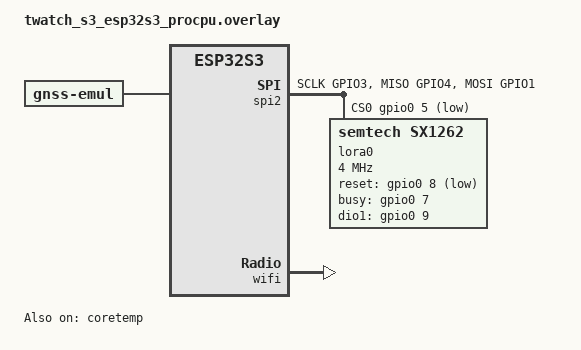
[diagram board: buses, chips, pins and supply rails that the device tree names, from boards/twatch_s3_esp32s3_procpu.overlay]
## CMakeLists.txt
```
# SPDX-License-Identifier: GPL-3.0

cmake_minimum_required(VERSION 3.20.0)

find_package(Zephyr REQUIRED HINTS $ENV{ZEPHYR_BASE})
project(meshtastic_sample)

target_sources(app PRIVATE
  src/main.c
  src/sample_app.c
)

if(CONFIG_MESHTASTIC_SAMPLE_GUI)
  target_sources(app PRIVATE
    src/sample_gui.c
    src/sample_gui_model.c
    src/sample_gui_renderer.c
  )
else()
  target_sources(app PRIVATE src/sample_gui_stub.c)
endif()
```

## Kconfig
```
# Sample-specific configuration options.
#
# Copyright (c) 2026 The Zephyr Project Contributors
# SPDX-License-Identifier: GPL-3.0

config MESHTASTIC_SAMPLE_FREQUENCY
	int "LoRa carrier frequency (Hz)"
	default 0
	help
	  Carrier frequency in Hz, e.g. 906875000 for the default US
	  LongFast slot or 913125000 for US MediumFast slot 45.
	  0 selects the EU LongFast default (869.525 MHz).

config MESHTASTIC_SAMPLE_SPREAD_FACTOR
	int "LoRa spreading factor"
	range 0 12
	default 0
	help
	  Spreading factor 7-12. Together with the fixed BW 250 kHz this
	  selects the Meshtastic modem preset (11 = LongFast,
	  9 = MediumFast). 0 selects the stack default (SF 11).

config MESHTASTIC_SAMPLE_DEMO_BROADCAST
	bool "Periodically broadcast a demo text message"
	default y
	help
	  Broadcast "Hello from <board>!" on the primary channel at the
	  interval below. Handy as a first-contact smoke test; disable it
	  when the sample is used as day-to-day firmware on a real mesh.

config MESHTASTIC_SAMPLE_DEMO_BROADCAST_INTERVAL_SEC
	int "Demo broadcast interval (seconds)"
	depends on MESHTASTIC_SAMPLE_DEMO_BROADCAST
	default 300

source "Kconfig.zephyr"
```

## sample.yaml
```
sample:
  name: Meshtastic
  description: >
    Demonstrates the Meshtastic mesh radio stack: initialises the default
    LongFast channel, prints received text messages, and broadcasts a
    greeting every 30 seconds.
common:
  build_only: true
tests:
  sample.meshtastic:
    tags:
      - lora
      - meshtastic
    platform_allow:
      - twatch_s3/esp32s3/procpu
      - arduino_giga_r1/stm32h747xx/m7
    integration_platforms:
      - twatch_s3/esp32s3/procpu
      - arduino_giga_r1/stm32h747xx/m7
    extra_args:
      - platform:arduino_giga_r1/stm32h747xx/m7:SHIELD=semtech_sx1262mb2das
  sample.meshtastic.settings:
    tags:
      - lora
      - meshtastic
      - settings
    platform_allow:
      - twatch_s3/esp32s3/procpu
      - arduino_giga_r1/stm32h747xx/m7
    integration_platforms:
      - twatch_s3/esp32s3/procpu
      - arduino_giga_r1/stm32h747xx/m7
    extra_args:
      - platform:arduino_giga_r1/stm32h747xx/m7:SHIELD=semtech_sx1262mb2das
      - EXTRA_CONF_FILE=overlay-settings.conf
  # Two fuller configurations, so that CI also compiles the optional
  # subsystems - Bluetooth, the PhoneAPI, the shell, GNSS, environment
  # telemetry and the MQTT gateway - that the default sample configures out.
  # They cannot be merged into one image: Bluetooth and Wi-Fi together
  # overflow the ESP32-S3 DRAM segment.
  sample.meshtastic.full:
    tags:
      - lora
      - meshtastic
      - ble
      - shell
    platform_allow:
      - twatch_s3/esp32s3/procpu
    integration_platforms:
      - twatch_s3/esp32s3/procpu
    extra_args:
      - EXTRA_CONF_FILE="overlay-settings.conf;overlay-ble.conf;overlay-shell.conf;overlay-gnss.conf;overlay-environment.conf"
  sample.meshtastic.mqtt:
    tags:
      - lora
      - meshtastic
      - mqtt
      - wifi
    platform_allow:
      - twatch_s3/esp32s3/procpu
    integration_platforms:
      - twatch_s3/esp32s3/procpu
    extra_args:
      - EXTRA_CONF_FILE="overlay-settings.conf;overlay-shell.conf;overlay-wifi-shell.conf;overlay-mqtt.conf"
```

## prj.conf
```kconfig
CONFIG_HWINFO=y
CONFIG_LORA_MODULE_BACKEND_NATIVE=y
CONFIG_LORA_LOG_LEVEL_DBG=y

CONFIG_LOG=y
CONFIG_LOG_DEFAULT_LEVEL=3
CONFIG_LOG_BUFFER_SIZE=16000

CONFIG_MAIN_STACK_SIZE=8192

CONFIG_MESHTASTIC=y
CONFIG_MESHTASTIC_SETTINGS=y
CONFIG_MESHTASTIC_LOG_LEVEL_DBG=y
CONFIG_MESHTASTIC_PACKET_HEXDUMP=y

# for persistent settings
CONFIG_NVS=y
CONFIG_FLASH=y
CONFIG_FLASH_MAP=y
 # for delayed settings save in system work queue
CONFIG_SYSTEM_WORKQUEUE_STACK_SIZE=2048
```

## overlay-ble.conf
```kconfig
CONFIG_SYSTEM_WORKQUEUE_STACK_SIZE=4096
CONFIG_MESHTASTIC_THREAD_STACK_SIZE=8192

CONFIG_BT=y
CONFIG_BT_PERIPHERAL=y
CONFIG_BT_GATT_CLIENT=y
CONFIG_BT_DEVICE_NAME="Zephyr Meshtastic"
CONFIG_BT_ATT_PREPARE_COUNT=4
CONFIG_BT_L2CAP_TX_MTU=247
CONFIG_BT_BUF_ACL_RX_SIZE=251
CONFIG_BT_BUF_ACL_TX_SIZE=251
CONFIG_BT_GATT_CACHING=n
CONFIG_BT_GATT_SERVICE_CHANGED=n
CONFIG_MESHTASTIC_BLE=y
CONFIG_MESHTASTIC_BLE_PAIRING=y
# # Meshtastic app pairs before reading config; use official default PIN 123456.
# CONFIG_MESHTASTIC_BLE_FIXED_PASSKEY=y
# CONFIG_MESHTASTIC_BLE_PASSKEY=123456

CONFIG_BT_SMP=y
CONFIG_BT_SMP_ENFORCE_MITM=y
# Official Meshtastic zephyr port: allow legacy fallback if SC-only aborts pairing.
CONFIG_BT_SMP_SC_PAIR_ONLY=n
CONFIG_BT_SECURITY_ERR_TO_STR=y

CONFIG_BT_SETTINGS=y
CONFIG_BT_KEYS_OVERWRITE_OLDEST=y
CONFIG_SETTINGS=y
CONFIG_FLASH=y
CONFIG_FLASH_MAP=y
CONFIG_NVS=y
```

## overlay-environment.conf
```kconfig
CONFIG_SENSOR=y
CONFIG_MESHTASTIC_ENVIRONMENT_METRICS=y
```

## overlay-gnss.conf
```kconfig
CONFIG_GNSS=y
CONFIG_MESHTASTIC_GNSS=y
```

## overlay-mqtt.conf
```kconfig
# MQTT gateway overlay for boards with IPv4 networking (Wi-Fi, Ethernet, etc.)
CONFIG_NETWORKING=y
CONFIG_NET_IPV4=y
CONFIG_NET_DHCPV4=y
CONFIG_NET_UDP=y
CONFIG_NET_TCP=y
CONFIG_NET_SOCKETS=y
CONFIG_DNS_RESOLVER=y
CONFIG_DNS_RESOLVER_MAX_SERVERS=2
CONFIG_NET_MGMT_EVENT=y

CONFIG_MQTT_LIB=y
CONFIG_MQTT_LIB_TLS=n

CONFIG_MESHTASTIC_MQTT=y
CONFIG_MESHTASTIC_MQTT_UPLINK_ENABLED=y
CONFIG_MESHTASTIC_MQTT_DOWNLINK_ENABLED=y
CONFIG_MESHTASTIC_MQTT_ENCRYPTION_ENABLED=y
CONFIG_MESHTASTIC_MQTT_ROOT="msh/EU_868"

CONFIG_MESHTASTIC_MQTT_THREAD_STACK_SIZE=6144
CONFIG_MESHTASTIC_MQTT_THREAD_PRIORITY=10

# LoRa async RX/TX completion is handled through the system workqueue. Keep
# enough stack headroom in Wi-Fi/MQTT builds so SX126x DIO1 work can complete
# reliably while the network stack is active.
CONFIG_SYSTEM_WORKQUEUE_STACK_SIZE=4096

# MQTT runs over TCP; each segment can be ~1280 bytes. The Wi-Fi shell overlay
# defaults (10 pkt / 20 buf) are too small and cause TCP retransmit ENOBUFS.
CONFIG_NET_PKT_RX_COUNT=16
CONFIG_NET_PKT_TX_COUNT=24
CONFIG_NET_BUF_RX_COUNT=32
CONFIG_NET_BUF_TX_COUNT=32

# Optional: publish to the public Meshtastic map (requires GNSS fix)
CONFIG_GNSS=y
CONFIG_MESHTASTIC_MQTT_MAP_REPORT=y
CONFIG_MESHTASTIC_GNSS=y
```

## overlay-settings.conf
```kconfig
CONFIG_MESHTASTIC_SETTINGS=y

CONFIG_SETTINGS=y
CONFIG_FLASH=y
CONFIG_FLASH_MAP=y
CONFIG_NVS=y
CONFIG_SETTINGS_NVS=y
```

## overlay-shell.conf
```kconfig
CONFIG_SHELL=y
CONFIG_MESHTASTIC_SHELL=y
# The default 2048-byte shell stack peaks at ~98% on ESP32-S3 once the
# meshtastic commands have run.
CONFIG_SHELL_STACK_SIZE=3072

CONFIG_LOG_CMDS=y
CONFIG_SETTINGS_SHELL=y

# GNSS shell commands require overlay-gnss.conf as well.
```

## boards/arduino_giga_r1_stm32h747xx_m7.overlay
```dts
/ {
	chosen {
		zephyr,meshtastic-uart = &board_cdc_acm_uart;
	};
};
```

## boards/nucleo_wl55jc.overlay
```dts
/ {
	chosen {
		zephyr,meshtastic-uart = &lpuart1;
	};
};
```

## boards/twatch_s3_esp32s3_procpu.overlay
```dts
/ {
	aliases {
		gnss = &gnss;
		die-temp0 = &coretemp;
	};

	gnss: gnss {
		compatible = "zephyr,gnss-emul";
		status = "okay";
	};
};

&coretemp {
	status = "okay";
};


/* Drop when https://github.com/zephyrproject-rtos/zephyr/pull/109507 merges */

#include <zephyr/dt-bindings/pinctrl/esp32s3-pinctrl.h>
#include <zephyr/dt-bindings/lora/sx126x.h>

/ {
	aliases {
		lora0 = &lora0;
	};
};

&pinctrl {
	spim2_default: spim2_default {
		group1 {
			pinmux = <SPIM2_SCLK_GPIO3>,
				 <SPIM2_MISO_GPIO4>;
		};

		group2 {
			pinmux = <SPIM2_MOSI_GPIO1>;
			output-low;
		};
	};
};

&spi2 {
	#address-cells = <1>;
	#size-cells = <0>;
	status = "okay";
	pinctrl-0 = <&spim2_default>;
	pinctrl-names = "default";
	cs-gpios = <&gpio0 5 GPIO_ACTIVE_LOW>;

	lora0: lora@0 {
		compatible = "semtech,sx1262";
		reg = <0>;
		reset-gpios = <&gpio0 8 (GPIO_OPEN_DRAIN | GPIO_ACTIVE_LOW)>;
		busy-gpios = <&gpio0 7 GPIO_ACTIVE_HIGH>;
		dio1-gpios = <&gpio0 9 GPIO_ACTIVE_HIGH>;
		dio2-tx-enable;
		dio3-tcxo-voltage = <SX126X_DIO3_TCXO_3V0>;
		tcxo-power-startup-delay-ms = <5>;
		spi-max-frequency = <4000000>;
	};
};

&wifi {
	status = "okay";
};
```

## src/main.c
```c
/* SPDX-FileCopyrightText: Benjamin Cabé <kartben@gmail.com>
 * SPDX-License-Identifier: GPL-3.0
 */

/*
 * Meshtastic sample application.
 *
 * Demonstrates basic usage of the Meshtastic subsystem:
 *  - Initialise the stack with the default LongFast channel.
 *  - Print every received text message to the console.
 *  - Broadcast "Hello from Zephyr!" every 30 seconds.
 *
 * The LoRa device is obtained from the DT alias "lora0".
 * The local node ID is derived from HWINFO by default; see
 * CONFIG_MESHTASTIC_NODE_ID_SOURCE.
 */

#include <zephyr/kernel.h>
#include <zephyr/device.h>
#include <zephyr/devicetree.h>
#include <zephyr/logging/log.h>

#include <zephyr/meshtastic/meshtastic.h>

LOG_MODULE_REGISTER(meshtastic_sample, LOG_LEVEL_INF);

/* Obtain LoRa device from the "lora0" devicetree alias. */
static const struct device *lora_dev = DEVICE_DT_GET(DT_ALIAS(lora0));

static const char *packet_channel_name(const struct meshtastic_packet *packet)
{
	if (packet->channel_index != MESHTASTIC_CHANNEL_INDEX_INVALID) {
		return meshtastic_get_channel_name(packet->channel_index);
	}

	return "unknown";
}

static void on_event(const struct meshtastic_event *event, void *user_data)
{
	const struct meshtastic_packet *packet;

	ARG_UNUSED(user_data);

	if (event == NULL) {
		return;
	}

	switch (event->type) {
	case MESHTASTIC_EVENT_TEXT_MESSAGE:
		packet = event->packet;
		if (packet == NULL || packet->payload == NULL) {
			break;
		}

		LOG_INF("MSG from 0x%08x on \"%s\": %.*s  (RSSI %d dBm, SNR %d)", packet->from,
			packet_channel_name(packet), (int)packet->payload_len,
			(const char *)packet->payload, (int)packet->rssi, (int)packet->snr);
		break;
	default:
		break;
	}
}

int main(void)
{
	struct meshtastic_config cfg = {
		.lora_dev = lora_dev,
		.node_id = 0,
		.psk = meshtastic_default_psk,
		.psk_len = sizeof(meshtastic_default_psk),
		.channel_name = MESHTASTIC_CHANNEL_LONGFAST,
#if defined(CONFIG_MESHTASTIC_TEST_LORA_SEND_PARAMS)
		.frequency = 865100000U,
		.tx_power = CONFIG_MESHTASTIC_TX_POWER,
#else
		.frequency = (CONFIG_MESHTASTIC_SAMPLE_FREQUENCY != 0)
				     ? CONFIG_MESHTASTIC_SAMPLE_FREQUENCY
				     : MESHTASTIC_FREQ_EU,
		.spread_factor = CONFIG_MESHTASTIC_SAMPLE_SPREAD_FACTOR,
		/* hop_limit and tx_power: 0 → use Kconfig defaults */
#endif
	};
	int ret;

	if (!device_is_ready(lora_dev)) {
		LOG_ERR("LoRa device not ready");
		return -ENODEV;
	}

	ret = meshtastic_init(&cfg);
	if (ret < 0) {
		LOG_ERR("meshtastic_init failed (%d)", ret);
		return ret;
	}

	meshtastic_set_event_cb(on_event, NULL);

	LOG_INF("Meshtastic sample started, node ID 0x%08x",
		meshtastic_get_node_id());

	/*
	 * NodeInfo (name, MAC address, hardware model) is announced to the
	 * mesh automatically by the subsystem; see CONFIG_MESHTASTIC_NODEINFO.
	 */

#if defined(CONFIG_MESHTASTIC_SAMPLE_DEMO_BROADCAST)
	/* Periodically broadcast a text message. */
	while (true) {
		ret = meshtastic_send_text(MESHTASTIC_NODE_BROADCAST,
					   "Hello from " CONFIG_BOARD_TARGET "!");
		if (ret < 0) {
			LOG_ERR("meshtastic_send_text failed (%d)", ret);
		} else {
			LOG_INF("Broadcast sent");
		}

		k_sleep(K_SECONDS(CONFIG_MESHTASTIC_SAMPLE_DEMO_BROADCAST_INTERVAL_SEC));
	}
#else
	k_sleep(K_FOREVER);
#endif

	return 0;
}
```

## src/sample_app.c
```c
/* SPDX-FileCopyrightText: Benjamin Cabé <kartben@gmail.com>
 * SPDX-License-Identifier: GPL-3.0
 */

#include <errno.h>

#include <zephyr/device.h>
#include <zephyr/devicetree.h>
#include <zephyr/kernel.h>
#include <zephyr/logging/log.h>

#include <zephyr/meshtastic/meshtastic.h>

#include "sample_app.h"
#include "sample_gui.h"

LOG_MODULE_REGISTER(meshtastic_sample, LOG_LEVEL_INF);

static const struct device *lora_dev = DEVICE_DT_GET(DT_ALIAS(lora0));

static const char *packet_channel_name(const struct meshtastic_packet *packet)
{
	if (packet->channel_index != MESHTASTIC_CHANNEL_INDEX_INVALID) {
		return meshtastic_get_channel_name(packet->channel_index);
	}

	return "unknown";
}

static void on_event(const struct meshtastic_event *event, void *user_data)
{
	const struct meshtastic_packet *packet;

	ARG_UNUSED(user_data);

	if (event == NULL) {
		return;
	}

	meshtastic_sample_gui_handle_event(event);

	switch (event->type) {
	case MESHTASTIC_EVENT_TEXT_MESSAGE:
		packet = event->packet;
		if (packet == NULL || packet->payload == NULL) {
			break;
		}

		LOG_INF("MSG from 0x%08x on \"%s\": %.*s  (RSSI %d dBm, SNR %d)", packet->from,
			packet_channel_name(packet), (int)packet->payload_len,
			(const char *)packet->payload, (int)packet->rssi, (int)packet->snr);
		break;
	default:
		break;
	}
}

int meshtastic_sample_run(void)
{
	struct meshtastic_config cfg = {
		.lora_dev = lora_dev,
		.node_id = 0,
		.psk = meshtastic_default_psk,
		.psk_len = sizeof(meshtastic_default_psk),
		.channel_name = MESHTASTIC_CHANNEL_LONGFAST,
#if defined(CONFIG_MESHTASTIC_TEST_LORA_SEND_PARAMS)
		.frequency = 865100000U,
		.tx_power = CONFIG_MESHTASTIC_TX_POWER,
#else
		.frequency = MESHTASTIC_FREQ_EU,
#endif
	};
	int ret;

	if (!device_is_ready(lora_dev)) {
		LOG_ERR("LoRa device not ready");
		return -ENODEV;
	}

	ret = meshtastic_init(&cfg);
	if (ret < 0) {
		LOG_ERR("meshtastic_init failed (%d)", ret);
		return ret;
	}

	ret = meshtastic_sample_gui_init();
	if (ret < 0) {
		LOG_ERR("sample GUI init failed (%d)", ret);
		return ret;
	}

	meshtastic_set_event_cb(on_event, NULL);

	LOG_INF("Meshtastic sample started, node ID 0x%08x",
		meshtastic_get_node_id());

	while (true) {
		ret = meshtastic_send_text(MESHTASTIC_NODE_BROADCAST,
					   "Hello from " CONFIG_BOARD_TARGET "!");
		if (ret < 0) {
			LOG_ERR("meshtastic_send_text failed (%d)", ret);
		} else {
			LOG_INF("Broadcast sent");
		}

		ret = meshtastic_sample_gui_process(K_SECONDS(300));
		if (ret < 0) {
			LOG_ERR("sample GUI process failed (%d)", ret);
			return ret;
		}
	}

	return 0;
}
```

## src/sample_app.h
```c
/* SPDX-FileCopyrightText: Benjamin Cabé <kartben@gmail.com>
 * SPDX-License-Identifier: GPL-3.0
 */

#ifndef MESHTASTIC_SAMPLE_APP_H_
#define MESHTASTIC_SAMPLE_APP_H_

int meshtastic_sample_run(void);

#endif /* MESHTASTIC_SAMPLE_APP_H_ */
```

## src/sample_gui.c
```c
/* SPDX-FileCopyrightText: Benjamin Cabé <kartben@gmail.com>
 * SPDX-License-Identifier: GPL-3.0
 */

#include <zephyr/meshtastic/meshtastic.h>

#include "sample_gui.h"
#include "sample_gui_model.h"
#include "sample_gui_renderer.h"

static struct meshtastic_sample_gui_model gui_model;

static const char *sample_gui_channel_name(const struct meshtastic_packet *packet)
{
	if (packet->channel_index != MESHTASTIC_CHANNEL_INDEX_INVALID) {
		return meshtastic_get_channel_name(packet->channel_index);
	}

	return "unknown";
}

int meshtastic_sample_gui_init(void)
{
	int ret;

	meshtastic_sample_gui_model_init(&gui_model, meshtastic_get_node_id());

	ret = meshtastic_sample_gui_model_refresh_status(&gui_model);
	if (ret < 0) {
		return ret;
	}

	ret = meshtastic_sample_gui_renderer_init();
	if (ret < 0) {
		return ret;
	}

	return meshtastic_sample_gui_renderer_process(&gui_model);
}

int meshtastic_sample_gui_process(k_timeout_t timeout)
{
	k_sleep(timeout);

	return 0;
}

void meshtastic_sample_gui_handle_event(const struct meshtastic_event *event)
{
	const struct meshtastic_packet *packet;

	if (event == NULL) {
		return;
	}

	meshtastic_sample_gui_model_set_event(&gui_model, event);

	switch (event->type) {
	case MESHTASTIC_EVENT_TEXT_MESSAGE:
		packet = event->packet;
		if (packet == NULL || packet->payload == NULL) {
			break;
		}

		meshtastic_sample_gui_model_set_text_message(&gui_model, packet,
							     sample_gui_channel_name(packet));
		break;
	default:
		break;
	}

	(void)meshtastic_sample_gui_model_refresh_status(&gui_model);
	(void)meshtastic_sample_gui_renderer_process(&gui_model);
}
```

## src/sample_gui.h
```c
/* SPDX-FileCopyrightText: Benjamin Cabé <kartben@gmail.com>
 * SPDX-License-Identifier: GPL-3.0
 */

#ifndef MESHTASTIC_SAMPLE_GUI_H_
#define MESHTASTIC_SAMPLE_GUI_H_

#include <zephyr/kernel.h>

struct meshtastic_event;

int meshtastic_sample_gui_init(void);
int meshtastic_sample_gui_process(k_timeout_t timeout);
void meshtastic_sample_gui_handle_event(const struct meshtastic_event *event);

#endif /* MESHTASTIC_SAMPLE_GUI_H_ */
```

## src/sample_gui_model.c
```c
/* SPDX-FileCopyrightText: Benjamin Cabé <kartben@gmail.com>
 * SPDX-License-Identifier: GPL-3.0
 */

#include <errno.h>
#include <string.h>

#include <zephyr/sys/printk.h>

#include "sample_gui_model.h"

void meshtastic_sample_gui_model_init(struct meshtastic_sample_gui_model *model, uint32_t node_id)
{
	if (model == NULL) {
		return;
	}

	(void)memset(model, 0, sizeof(*model));
	model->status.node_id = node_id;
	(void)snprintk(model->last_event, sizeof(model->last_event), "Waiting for mesh activity");
	model->has_last_event = true;
	model->dirty = true;
}

int meshtastic_sample_gui_model_refresh_status(struct meshtastic_sample_gui_model *model)
{
	struct meshtastic_status status;
	int ret;

	if (model == NULL) {
		return -EINVAL;
	}

	ret = meshtastic_get_status(&status);
	if (ret < 0) {
		return ret;
	}

	if (memcmp(&model->status, &status, sizeof(status)) != 0) {
		model->status = status;
		model->dirty = true;
	}

	return 0;
}

void meshtastic_sample_gui_model_set_event(struct meshtastic_sample_gui_model *model,
					   const struct meshtastic_event *event)
{
	if (model == NULL || event == NULL) {
		return;
	}

	switch (event->type) {
	case MESHTASTIC_EVENT_TEXT_MESSAGE:
		(void)snprintk(model->last_event, sizeof(model->last_event),
			       "Text message received");
		break;
	case MESHTASTIC_EVENT_TX_DONE:
		if (event->packet != NULL) {
			(void)snprintk(model->last_event, sizeof(model->last_event),
				       "TX complete to 0x%08x", event->packet->to);
		} else {
			(void)snprintk(model->last_event, sizeof(model->last_event), "TX complete");
		}
		break;
	case MESHTASTIC_EVENT_TX_FAILED:
		(void)snprintk(model->last_event, sizeof(model->last_event), "TX failed (%d)",
			       event->err);
		break;
	case MESHTASTIC_EVENT_BLE_CONNECTED:
		(void)snprintk(model->last_event, sizeof(model->last_event), "BLE connected");
		break;
	case MESHTASTIC_EVENT_BLE_DISCONNECTED:
		(void)snprintk(model->last_event, sizeof(model->last_event), "BLE disconnected");
		break;
	case MESHTASTIC_EVENT_GNSS_FIX:
		(void)snprintk(model->last_event, sizeof(model->last_event), "GNSS fix updated");
		break;
	case MESHTASTIC_EVENT_METRICS_ERROR:
		(void)snprintk(model->last_event, sizeof(model->last_event), "Metrics error (%d)",
			       event->err);
		break;
	case MESHTASTIC_EVENT_PACKET_RECEIVED:
	default:
		return;
	}

	model->has_last_event = true;
	model->dirty = true;
}

void meshtastic_sample_gui_model_set_text_message(struct meshtastic_sample_gui_model *model,
						  const struct meshtastic_packet *packet,
						  const char *channel_name)
{
	size_t channel_len;
	size_t payload_len;

	if (model == NULL || packet == NULL || packet->payload == NULL || channel_name == NULL) {
		return;
	}

	model->last_message_sender = packet->from;
	model->last_message_rssi = packet->rssi;
	model->last_message_snr = packet->snr;
	model->has_text_message = true;
	model->dirty = true;

	channel_len = strlen(channel_name);
	if (channel_len >= sizeof(model->last_channel)) {
		channel_len = sizeof(model->last_channel) - 1U;
	}

	(void)memcpy(model->last_channel, channel_name, channel_len);
	model->last_channel[channel_len] = '\0';

	payload_len = packet->payload_len;
	if (payload_len > MESHTASTIC_MAX_TEXT_LEN) {
		payload_len = MESHTASTIC_MAX_TEXT_LEN;
	}

	(void)memcpy(model->last_text, packet->payload, payload_len);
	model->last_text[payload_len] = '\0';
}
```

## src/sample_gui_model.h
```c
/* SPDX-FileCopyrightText: Benjamin Cabé <kartben@gmail.com>
 * SPDX-License-Identifier: GPL-3.0
 */

#ifndef MESHTASTIC_SAMPLE_GUI_MODEL_H_
#define MESHTASTIC_SAMPLE_GUI_MODEL_H_

#include <stdbool.h>
#include <stddef.h>
#include <stdint.h>

#include <zephyr/meshtastic/meshtastic.h>

struct meshtastic_sample_gui_model {
	struct meshtastic_status status;
	uint32_t last_message_sender;
	int16_t last_message_rssi;
	int8_t last_message_snr;
	bool has_text_message;
	bool has_last_event;
	bool dirty;
	char last_event[48];
	char last_channel[16];
	char last_text[MESHTASTIC_MAX_TEXT_LEN + 1];
};

void meshtastic_sample_gui_model_init(struct meshtastic_sample_gui_model *model, uint32_t node_id);
int meshtastic_sample_gui_model_refresh_status(struct meshtastic_sample_gui_model *model);
void meshtastic_sample_gui_model_set_event(struct meshtastic_sample_gui_model *model,
					   const struct meshtastic_event *event);
void meshtastic_sample_gui_model_set_text_message(struct meshtastic_sample_gui_model *model,
						  const struct meshtastic_packet *packet,
						  const char *channel_name);

#endif /* MESHTASTIC_SAMPLE_GUI_MODEL_H_ */
```

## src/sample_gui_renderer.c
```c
/* SPDX-FileCopyrightText: Benjamin Cabé <kartben@gmail.com>
 * SPDX-License-Identifier: GPL-3.0
 */

#include <errno.h>

#include <zephyr/logging/log.h>

#if defined(CONFIG_MESHTASTIC_SAMPLE_GUI_LVGL)
#include <lvgl.h>
#include <zephyr/devicetree.h>

#if defined(CONFIG_DISPLAY) && DT_HAS_CHOSEN(zephyr_display)
#include <zephyr/device.h>
#include <zephyr/drivers/display.h>
#endif
#endif

#include "sample_gui_renderer.h"

LOG_MODULE_REGISTER(meshtastic_sample_gui, LOG_LEVEL_INF);

enum meshtastic_sample_gui_backend {
	MESHTASTIC_SAMPLE_GUI_BACKEND_LOG,
	MESHTASTIC_SAMPLE_GUI_BACKEND_LVGL,
};

struct meshtastic_sample_gui_view {
	enum meshtastic_sample_gui_backend backend;
#if defined(CONFIG_MESHTASTIC_SAMPLE_GUI_LVGL)
	lv_obj_t *screen;
	lv_obj_t *title_label;
	lv_obj_t *status_label;
	lv_obj_t *event_label;
	lv_obj_t *message_label;
#endif
};

static struct meshtastic_sample_gui_view gui_view = {
	.backend = MESHTASTIC_SAMPLE_GUI_BACKEND_LOG,
};

#if defined(CONFIG_MESHTASTIC_SAMPLE_GUI_LVGL)
#if defined(LV_VERSION_MAJOR) && (LV_VERSION_MAJOR >= 9)
#define SAMPLE_GUI_LV_SCREEN_ACTIVE() lv_screen_active()
#else
#define SAMPLE_GUI_LV_SCREEN_ACTIVE() lv_scr_act()
#endif

static void sample_gui_renderer_update_lvgl(struct meshtastic_sample_gui_model *model)
{
	lv_label_set_text_fmt(gui_view.title_label, "Meshtastic sample\nNode 0x%08x",
			      model->status.node_id);
	lv_label_set_text_fmt(gui_view.status_label,
			      "Status\nBLE: %s\nTX: %u ok / %u failed\nRX: %u decoded / %u dup\n"
			      "Relayed: %u\nLast RX: 0x%08x RSSI %d SNR %d",
			      model->status.ble_connected ? "connected" : "idle",
			      model->status.tx_packets, model->status.tx_failures,
			      model->status.rx_packets, model->status.duplicate_packets,
			      model->status.relayed_packets, model->status.last_rx_from,
			      model->status.last_rssi, model->status.last_snr);

	if (model->has_last_event) {
		lv_label_set_text_fmt(gui_view.event_label, "Last event\n%s", model->last_event);
	} else {
		lv_label_set_text(gui_view.event_label, "Last event\nNone yet");
	}

	if (model->has_text_message) {
		lv_label_set_text_fmt(gui_view.message_label,
				      "Last message\nFrom: 0x%08x on %s\nRSSI %d SNR %d\n%s",
				      model->last_message_sender, model->last_channel,
				      model->last_message_rssi, model->last_message_snr,
				      model->last_text);
	} else {
		lv_label_set_text(gui_view.message_label, "Last message\nNo text messages yet");
	}
}

static int sample_gui_renderer_init_lvgl(void)
{
#if defined(CONFIG_DISPLAY) && DT_HAS_CHOSEN(zephyr_display)
	const struct device *display_dev = DEVICE_DT_GET(DT_CHOSEN(zephyr_display));

	if (!device_is_ready(display_dev)) {
		return -ENODEV;
	}
#endif

	gui_view.screen = SAMPLE_GUI_LV_SCREEN_ACTIVE();
	if (gui_view.screen == NULL) {
		return -ENODEV;
	}

	lv_obj_clean(gui_view.screen);

	gui_view.title_label = lv_label_create(gui_view.screen);
	gui_view.status_label = lv_label_create(gui_view.screen);
	gui_view.event_label = lv_label_create(gui_view.screen);
	gui_view.message_label = lv_label_create(gui_view.screen);

	if (gui_view.title_label == NULL || gui_view.status_label == NULL ||
	    gui_view.event_label == NULL || gui_view.message_label == NULL) {
		return -ENOMEM;
	}

	lv_obj_set_width(gui_view.title_label, lv_pct(96));
	lv_obj_set_width(gui_view.status_label, lv_pct(96));
	lv_obj_set_width(gui_view.event_label, lv_pct(96));
	lv_obj_set_width(gui_view.message_label, lv_pct(96));

	lv_label_set_long_mode(gui_view.status_label, LV_LABEL_LONG_WRAP);
	lv_label_set_long_mode(gui_view.event_label, LV_LABEL_LONG_WRAP);
	lv_label_set_long_mode(gui_view.message_label, LV_LABEL_LONG_WRAP);

	lv_obj_align(gui_view.title_label, LV_ALIGN_TOP_LEFT, 6, 6);
	lv_obj_align_to(gui_view.status_label, gui_view.title_label, LV_ALIGN_OUT_BOTTOM_LEFT, 0, 12);
	lv_obj_align_to(gui_view.event_label, gui_view.status_label, LV_ALIGN_OUT_BOTTOM_LEFT, 0, 12);
	lv_obj_align_to(gui_view.message_label, gui_view.event_label, LV_ALIGN_OUT_BOTTOM_LEFT, 0,
			12);

#if defined(CONFIG_DISPLAY) && DT_HAS_CHOSEN(zephyr_display)
	(void)display_blanking_off(display_dev);
#endif

	lv_timer_handler();

	return 0;
}
#endif

static void sample_gui_renderer_update_log(struct meshtastic_sample_gui_model *model)
{
	LOG_INF("UI status: node=0x%08x ble=%s tx=%u/%u rx=%u dup=%u relayed=%u last=0x%08x %d/%d",
		model->status.node_id, model->status.ble_connected ? "connected" : "idle",
		model->status.tx_packets, model->status.tx_failures, model->status.rx_packets,
		model->status.duplicate_packets, model->status.relayed_packets,
		model->status.last_rx_from, model->status.last_rssi, model->status.last_snr);

	if (model->has_last_event) {
		LOG_INF("UI event: %s", model->last_event);
	}

	if (model->has_text_message) {
		LOG_INF("UI message from 0x%08x on %s (%d/%d): %s", model->last_message_sender,
			model->last_channel, model->last_message_rssi, model->last_message_snr,
			model->last_text);
	}
}

int meshtastic_sample_gui_renderer_init(void)
{
#if defined(CONFIG_MESHTASTIC_SAMPLE_GUI_LVGL)
	int ret;

	ret = sample_gui_renderer_init_lvgl();
	if (ret == 0) {
		gui_view.backend = MESHTASTIC_SAMPLE_GUI_BACKEND_LVGL;
		LOG_INF("Sample GUI renderer backend: LVGL");
		return 0;
	}

	LOG_WRN("LVGL renderer unavailable (%d), using log fallback", ret);
#endif

	gui_view.backend = MESHTASTIC_SAMPLE_GUI_BACKEND_LOG;
	LOG_INF("Sample GUI renderer backend: log");

	return 0;
}

int meshtastic_sample_gui_renderer_process(struct meshtastic_sample_gui_model *model)
{
	if (model == NULL) {
		return -EINVAL;
	}

#if defined(CONFIG_MESHTASTIC_SAMPLE_GUI_LVGL)
	if (gui_view.backend == MESHTASTIC_SAMPLE_GUI_BACKEND_LVGL) {
		if (model->dirty) {
			sample_gui_renderer_update_lvgl(model);
			model->dirty = false;
		}

		lv_timer_handler();
		return 0;
	}
#endif

	if (model->dirty) {
		sample_gui_renderer_update_log(model);
		model->dirty = false;
	}

	return 0;
}
```

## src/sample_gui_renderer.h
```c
/* SPDX-FileCopyrightText: Benjamin Cabé <kartben@gmail.com>
 * SPDX-License-Identifier: GPL-3.0
 */

#ifndef MESHTASTIC_SAMPLE_GUI_RENDERER_H_
#define MESHTASTIC_SAMPLE_GUI_RENDERER_H_

#include "sample_gui_model.h"

int meshtastic_sample_gui_renderer_init(void);
int meshtastic_sample_gui_renderer_process(struct meshtastic_sample_gui_model *model);

#endif /* MESHTASTIC_SAMPLE_GUI_RENDERER_H_ */
```

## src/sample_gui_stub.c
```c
/* SPDX-FileCopyrightText: Benjamin Cabé <kartben@gmail.com>
 * SPDX-License-Identifier: GPL-3.0
 */

#include "sample_gui.h"

int meshtastic_sample_gui_init(void)
{
	return 0;
}

int meshtastic_sample_gui_process(k_timeout_t timeout)
{
	k_sleep(timeout);

	return 0;
}

void meshtastic_sample_gui_handle_event(const struct meshtastic_event *event)
{
	ARG_UNUSED(event);
}
```
